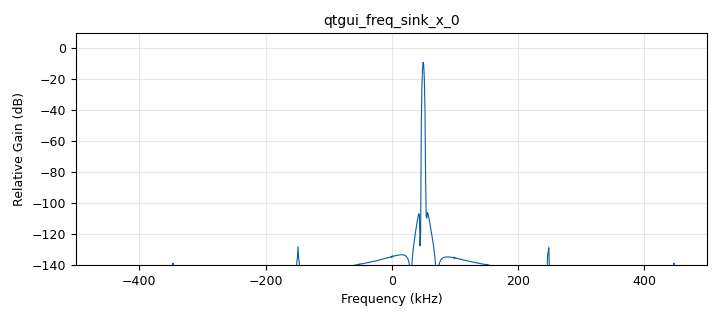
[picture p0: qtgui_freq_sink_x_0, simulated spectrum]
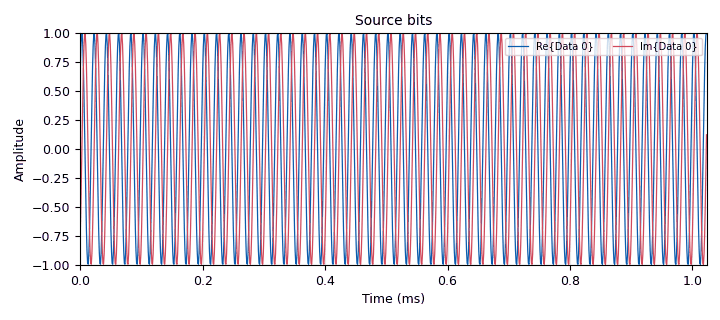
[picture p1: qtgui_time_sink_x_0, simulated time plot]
options:
  parameters:
    generate_options: qt_gui
    id: bfsk_sonnette
    output_language: python
    title: bfsk_sonnette
  states: {}

blocks:
- name: add_const
  id: variable_qtgui_range
  parameters:
    label: add_const
    start: '-5'
    step: '0.1'
    stop: '5'
    value: '-1'
  states: {}
- name: bits
  id: variable
  parameters:
    value: '[]'
  states: {}
- name: center_freq
  id: variable
  parameters:
    value: 433.805e6
  states: {state: disabled}
- name: center_freq
  id: variable_qtgui_range
  parameters:
    label: center_freq
    start: 425e6
    step: 1e2
    stop: 445e6
    value: '433850000'
  states: {}
- name: deviation
  id: variable_qtgui_range
  parameters:
    label: deviation
    start: '100'
    step: '1'
    stop: 5e6
    value: 50e3
  states: {}
- name: gain
  id: variable_qtgui_range
  parameters:
    label: gain
    rangeType: int
    start: '-12'
    step: '1'
    stop: '64'
    value: '40'
  states: {}
- name: mult_const
  id: variable_qtgui_range
  parameters:
    label: mult_const
    start: '0'
    step: '0.1'
    stop: '5'
    value: '2'
  states: {}
- name: samp_rate
  id: variable
  parameters:
    value: 1e6
  states: {}
- name: symbols
  id: variable
  parameters:
    comment: |-
      [1,0,1,1,0,0,1,0,0,0,0,1,1,0,1,1,1,0,0,0,0,1,0,1,1,1,0,1,0,0,1,1,0]
      [1,0,0,0,0,1,0,0,1,0,0,1,0,1,1,1,1,1,0,1,0,1,0,1,1,0,0,1,0,0,1,1,0]
    value: '[1,0,0,0,0,1,0,0,1,0,0,1,0,1,1,1,1,1,0,1,0,1,0,1,1,0,0,1,0,0,1,1,0]'
  states: {}
- name: vector_bits
  id: variable
  parameters:
    value: ([bits.extend([1,1,1,0]) if s==1 else bits.extend([1,0,0,0]) for s in symbols],bits[:-1])[1]
  states: {}
- name: analog_frequency_modulator_fc_0
  id: analog_frequency_modulator_fc
  parameters:
    comment: |-
      0.339292 -> for real DMR
      2 * math.pi * freq_dev / (if_samp_rate * 0.5)
    sensitivity: 2*deviation*3.1415 /samp_rate
  states: {}
- name: analog_sig_source_x_0
  id: analog_sig_source_x
  parameters:
    amp: '1'
    freq: '1.4'
    offset: '0'
    phase: '0'
    samp_rate: samp_rate
    type: float
    waveform: analog.GR_SQR_WAVE
  states: {state: disabled}
- name: blocks_add_const_vxx_0
  id: blocks_add_const_vxx
  parameters:
    const: add_const
    type: float
  states: {}
- name: blocks_float_to_complex_0
  id: blocks_float_to_complex
  parameters: {}
  states: {state: disabled}
- name: blocks_multiply_const_vxx_0
  id: blocks_multiply_const_vxx
  parameters:
    const: mult_const
    type: float
  states: {}
- name: blocks_multiply_xx_0
  id: blocks_multiply_xx
  parameters:
    type: complex
  states: {state: disabled}
- name: blocks_repeat_0
  id: blocks_repeat
  parameters:
    interp: '520'
    type: float
  states: {}
- name: blocks_vco_c_0
  id: blocks_vco_c
  parameters:
    amplitude: '0.5'
    samp_rate: samp_rate
    sensitivity: 2*deviation*3.1415
  states: {state: disabled}
- name: blocks_vector_source_x_0
  id: blocks_vector_source_x
  parameters:
    comment: |-
      [int(b) for b in bin(0x177771771771711111717171177177117)[2:]]
      [0, 1, 1, 1, 0, 1, 0, 0, 0, 1, 1, 1, 0, 1, 1, 1, 0, 1, 0, 0, 0, 1, 0, 0, 0, 1, 1, 1, 0, 1, 0, 0, 0, 1, 0, 0, 0, 1, 0, 0, 0, 1, 0, 0, 0, 1, 1, 1, 0, 1, 1, 1, 0, 1, 0, 0, 0, 1, 1, 1, 0, 1, 1, 1, 0, 1, 1, 1, 0, 1, 0, 0, 0, 1, 0, 0, 0, 1, 0, 0, 0, 1, 0, 0, 0, 1, 1, 1, 0, 1, 0, 0, 0, 1, 1, 1, 0, 1, 1, 1, 0, 1, 1, 1, 0, 1, 0, 0, 0, 1, 1, 1, 0, 1, 0, 0, 0, 1, 0, 0, 0, 1, 1, 1, 0, 1, 1, 1, 0, 1, 0, 0, 0]
      [1, 0, 0, 0, 1, 0, 1, 1, 1, 0, 0, 0, 1, 0, 0, 0, 1, 0, 1, 1, 1, 0, 1, 1, 1, 0, 0, 0, 1, 0, 1, 1, 1, 0, 1, 1, 1, 0, 1, 1, 1, 0, 1, 1, 1, 0, 0, 0, 1, 0, 0, 0, 1, 0, 1, 1, 1, 0, 0, 0, 1, 0, 0, 0, 1, 0, 0, 0, 1, 0, 1, 1, 1, 0, 1, 1, 1, 0, 1, 1, 1, 0, 1, 1, 1, 0, 0, 0, 1, 0, 1, 1, 1, 0, 0, 0, 1, 0, 0, 0, 1, 0, 0, 0, 1, 0, 1, 1, 1, 0, 0, 0, 1, 0, 1, 1, 1, 0, 1, 1, 1, 0, 0, 0, 1, 0, 0, 0]
    repeat: 'True'
    type: float
    vector: '[0, 1, 1, 1, 0, 1, 0, 0, 0, 1, 1, 1, 0, 1, 1, 1, 0, 1, 0, 0, 0, 1, 0, 0, 0, 1, 1, 1, 0, 1, 0, 0, 0, 1, 0, 0, 0, 1, 0, 0, 0, 1, 0, 0, 0, 1, 1, 1, 0, 1, 1, 1, 0, 1, 0, 0, 0, 1, 1, 1, 0, 1, 1, 1, 0, 1, 1, 1, 0, 1, 0, 0, 0, 1, 0, 0, 0, 1, 0, 0, 0, 1, 0, 0, 0, 1, 1, 1, 0, 1, 0, 0, 0, 1, 1, 1, 0, 1, 1, 1, 0, 1, 1, 1, 0, 1, 0, 0, 0, 1, 1, 1, 0, 1, 0, 0, 0, 1, 0, 0, 0, 1, 1, 1, 0, 1, 1, 1, 0, 1, 0, 0, 0]'
  states: {state: disabled}
- name: blocks_vector_source_x_0_0
  id: blocks_vector_source_x
  parameters:
    repeat: 'True'
    type: float
    vector: '[0,0,0,0,0,0,0,0,0,0,0,0, 1, 1, 1, 0, 1, 0, 0, 0, 1, 1, 1, 0, 1, 1, 1, 0, 1, 0, 0, 0, 1, 0, 0, 0, 1, 1, 1, 0, 1, 0, 0, 0, 1, 0, 0, 0, 1, 0, 0, 0, 1, 0, 0, 0, 1, 1, 1, 0, 1, 1, 1, 0, 1, 0, 0, 0, 1, 1, 1, 0, 1, 1, 1, 0, 1, 1, 1, 0, 1, 0, 0, 0, 1, 0, 0, 0, 1, 0, 0, 0, 1, 0, 0, 0, 1, 1, 1, 0, 1, 0, 0, 0, 1, 1, 1, 0, 1, 1, 1, 0, 1, 1, 1, 0, 1, 0, 0, 0, 1, 1, 1, 0, 1, 0, 0, 0, 1, 0, 0, 0, 1, 1, 1, 0, 1, 1, 1, 0, 1, 0, 0, 0]'
  states: {state: disabled}
- name: blocks_vector_source_x_0_1
  id: blocks_vector_source_x
  parameters:
    comment: |-
      [0, 1, 1, 1, 0, 1, 0, 0, 0, 1, 1, 1, 0, 1, 1, 1, 0, 1, 0, 0, 0, 1, 0, 0, 0, 1, 1, 1, 0, 1, 0, 0, 0, 1, 0, 0, 0, 1, 0, 0, 0, 1, 0, 0, 0, 1, 1, 1, 0, 1, 1, 1, 0, 1, 0, 0, 0, 1, 1, 1, 0, 1, 1, 1, 0, 1, 1, 1, 0, 1, 0, 0, 0, 1, 0, 0, 0, 1, 0, 0, 0, 1, 0, 0, 0, 1, 1, 1, 0, 1, 0, 0, 0, 1, 1, 1, 0, 1, 1, 1, 0, 1, 1, 1, 0, 1, 0, 0, 0, 1, 1, 1, 0, 1, 0, 0, 0, 1, 0, 0, 0, 1, 1, 1, 0, 1, 1, 1, 0, 1, 0, 0, 0]
      e8ee88e8888ee8eee8888e8eee8e88ee8

      [1, 1, 1, 1, 1, 1, 1, 1, 0, 0, 1, 1, 1, 0, 0, 0, 0, 0, 0, 0, 1, 1, 1, 1, 1, 1, 1, 1, 0, 0, 1, 1, 1, 1, 1, 1, 1, 1, 0, 0, 1, 1, 1, 0, 0, 0, 0, 0, 0, 0, 1, 1, 1, 0, 0, 0, 0, 0, 0, 0, 1, 1, 1, 1, 1, 1, 1, 1, 0, 0, 1, 1, 1, 0, 0, 0, 0, 0, 0, 0, 1, 1, 1, 0, 0, 0, 0, 0, 0, 0, 1, 1, 1, 0, 0, 0, 0, 0, 0, 0, 1, 1, 1, 0, 0, 0, 0, 0, 0, 0, 1, 1, 1, 1, 1, 1, 1, 1, 0, 0, 1, 1, 1, 1, 1, 1, 1, 1, 0, 0, 1, 1, 1, 0, 0, 0, 0, 0, 0, 0, 1, 1, 1, 1, 1, 1, 1, 1, 0, 0, 1, 1, 1, 1, 1, 1, 1, 1, 0, 0, 1, 1, 1, 1, 1, 1, 1, 1, 0, 0, 1, 1, 1, 0, 0, 0, 0, 0, 0, 0, 1, 1, 1, 0, 0, 0, 0, 0, 0, 0, 1, 1, 1, 0, 0, 0, 0, 0, 0, 0, 1, 1, 1, 0, 0, 0, 0, 0, 0, 0, 1, 1, 1, 1, 1, 1, 1, 1, 0, 0, 1, 1, 1, 0, 0, 0, 0, 0, 0, 0, 1, 1, 1, 1, 1, 1, 1, 1, 0, 0, 1, 1, 1, 1, 1, 1, 1, 1, 0, 0, 1, 1, 1, 1, 1, 1, 1, 1, 0, 0, 1, 1, 1, 0, 0, 0, 0, 0, 0, 0, 1, 1, 1, 1, 1, 1, 1, 1, 0, 0, 1, 1, 1, 0, 0, 0, 0, 0, 0, 0, 1, 1, 1, 0, 0, 0, 0, 0, 0, 0, 1, 1, 1, 1, 1, 1, 1, 1, 0, 0, 1, 1, 1, 1, 1, 1, 1, 1, 0, 0, 1, 1, 1, 0, 0, 0, 0, 0, 0, 0]
      0x5555f57fff5555f5555f57fff57fff5555f57fff57fff57fff57fff5555f5555f57fff5555f5555f5555f57fff57fff57fff57fff5555f57fff5555f5555f5555f57fff5555f57fff57fff5555f5555f57fff

      [1,0,1,1,0,0,1,0,0,0,0,1,1,0,1,1,1,0,0,0,0,1,0,1,1,1,0,1,0,0,1,1,0]
    repeat: 'True'
    type: float
    vector: vector_bits + [0]*12
  states: {}
- name: blocks_vector_source_x_1
  id: blocks_vector_source_x
  parameters:
    repeat: 'True'
    type: complex
    vector: '[0.3]*68000 + [0.0]*6800'
  states: {state: disabled}
- name: qtgui_freq_sink_x_0
  id: qtgui_freq_sink_x
  parameters:
    bw: samp_rate
    ctrlpanel: 'True'
    fc: '0'
    fftsize: '1024'
    type: complex
  states: {}
- name: qtgui_time_sink_x_0
  id: qtgui_time_sink_x
  parameters:
    ctrlpanel: 'True'
    name: Source bits
    size: '1024'
    srate: samp_rate
    type: complex
  states: {}
- name: qtgui_time_sink_x_0_0
  id: qtgui_time_sink_x
  parameters:
    ctrlpanel: 'True'
    name: Source bits
    size: 2**16
    srate: samp_rate
    type: complex
  states: {state: disabled}
- name: qtgui_time_sink_x_1
  id: qtgui_time_sink_x
  parameters:
    ctrlpanel: 'True'
    name: Source bits
    size: '1024'
    srate: samp_rate
    type: float
  states: {state: disabled}
- name: soapy_hackrf_sink_0
  id: soapy_hackrf_sink
  parameters:
    center_freq: center_freq
    samp_rate: samp_rate
    type: fc32
    vga: '30'
  states: {state: disabled}
- name: soapy_limesdr_sink_0
  id: soapy_limesdr_sink
  parameters:
    center_freq: center_freq
    dev_args: serial=1DA1505C7F4246
    gain: gain
    samp_rate: samp_rate
    type: fc32
  states: {}

connections:
- [analog_frequency_modulator_fc_0, '0', blocks_multiply_xx_0, '1']
- [analog_frequency_modulator_fc_0, '0', qtgui_freq_sink_x_0, '0']
- [analog_frequency_modulator_fc_0, '0', qtgui_time_sink_x_0, '0']
- [analog_frequency_modulator_fc_0, '0', soapy_limesdr_sink_0, '0']
- [analog_sig_source_x_0, '0', blocks_float_to_complex_0, '0']
- [analog_sig_source_x_0, '0', blocks_float_to_complex_0, '1']
- [blocks_add_const_vxx_0, '0', analog_frequency_modulator_fc_0, '0']
- [blocks_add_const_vxx_0, '0', blocks_vco_c_0, '0']
- [blocks_float_to_complex_0, '0', blocks_multiply_xx_0, '0']
- [blocks_multiply_const_vxx_0, '0', blocks_add_const_vxx_0, '0']
- [blocks_multiply_xx_0, '0', qtgui_freq_sink_x_0, '0']
- [blocks_multiply_xx_0, '0', qtgui_time_sink_x_0, '0']
- [blocks_multiply_xx_0, '0', soapy_hackrf_sink_0, '0']
- [blocks_multiply_xx_0, '0', soapy_limesdr_sink_0, '0']
- [blocks_repeat_0, '0', blocks_multiply_const_vxx_0, '0']
- [blocks_repeat_0, '0', qtgui_time_sink_x_1, '0']
- [blocks_vco_c_0, '0', blocks_multiply_xx_0, '1']
- [blocks_vector_source_x_0, '0', blocks_repeat_0, '0']
- [blocks_vector_source_x_0_1, '0', blocks_repeat_0, '0']
- [blocks_vector_source_x_1, '0', blocks_multiply_xx_0, '0']
- [blocks_vector_source_x_1, '0', qtgui_time_sink_x_0_0, '0']

metadata:
  file_format: 1
  grc_version: 3.10.9.2
